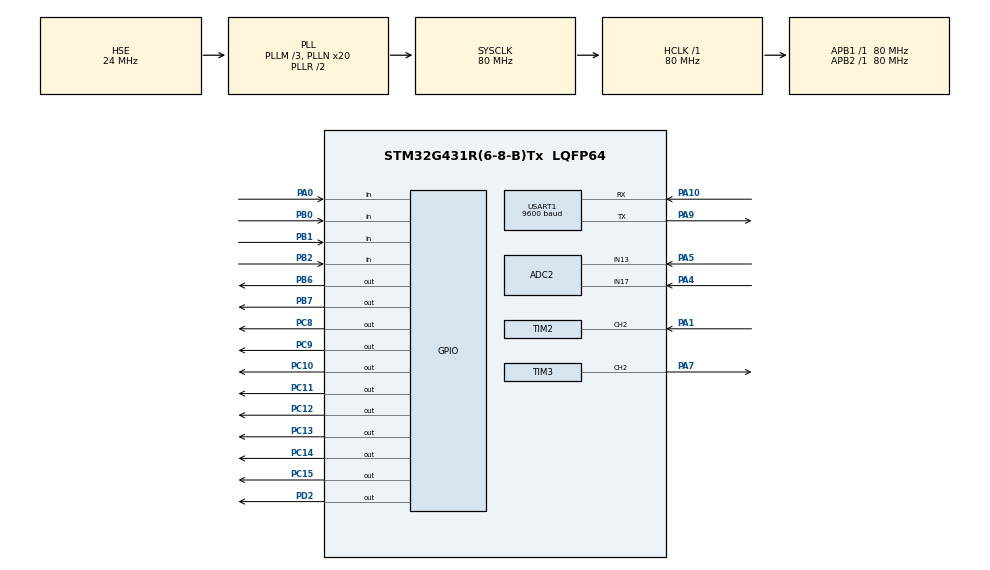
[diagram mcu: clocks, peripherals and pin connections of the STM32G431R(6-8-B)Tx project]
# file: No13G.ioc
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ADC2.Channel-3\#ChannelRegularConversion=ADC_CHANNEL_17
ADC2.Channel-4\#ChannelRegularConversion=ADC_CHANNEL_13
ADC2.ContinuousConvMode=DISABLE
ADC2.NbrOfConversion=2
ADC2.NbrOfConversionFlag=1
ADC2.OffsetNumber-3\#ChannelRegularConversion=ADC_OFFSET_NONE
ADC2.OffsetNumber-4\#ChannelRegularConversion=ADC_OFFSET_NONE
ADC2.Rank-3\#ChannelRegularConversion=1
ADC2.Rank-4\#ChannelRegularConversion=2
ADC2.SamplingTime-3\#ChannelRegularConversion=ADC_SAMPLETIME_640CYCLES_5
ADC2.SamplingTime-4\#ChannelRegularConversion=ADC_SAMPLETIME_640CYCLES_5
Mcu.Family=STM32G4
Mcu.Name=STM32G431R(6-8-B)Tx
Mcu.Package=LQFP64
NVIC.PriorityGroup=NVIC_PRIORITYGROUP_4
NVIC.TIM1_TRG_COM_TIM17_IRQn=true\:0\:0\:false\:false\:true\:true\:true\:true
NVIC.TIM2_IRQn=true\:0\:0\:false\:false\:true\:true\:true\:true
NVIC.USART1_IRQn=true\:0\:0\:false\:false\:true\:true\:true\:true
PA0.GPIO_PuPd=GPIO_PULLUP
PA0.Signal=GPIO_Input
PA1.Signal=S_TIM2_CH2
PA10.Mode=Asynchronous
PA10.Signal=USART1_RX
PA13.Mode=Serial_Wire
PA13.Signal=SYS_JTMS-SWDIO
PA14.Mode=Serial_Wire
PA14.Signal=SYS_JTCK-SWCLK
PA4.Mode=IN17-Single-Ended
PA4.Signal=ADC2_IN17
PA5.Mode=IN13-Single-Ended
PA5.Signal=ADC2_IN13
PA7.Signal=S_TIM3_CH2
PA9.Mode=Asynchronous
PA9.Signal=USART1_TX
PB0.GPIO_PuPd=GPIO_PULLUP
PB0.Signal=GPIO_Input
PB1.GPIO_PuPd=GPIO_PULLUP
PB1.Signal=GPIO_Input
PB2.GPIO_PuPd=GPIO_PULLUP
PB2.Signal=GPIO_Input
PB6.Signal=GPIO_Output
PB7.Signal=GPIO_Output
PC10.PinState=GPIO_PIN_SET
PC10.Signal=GPIO_Output
PC11.PinState=GPIO_PIN_SET
PC11.Signal=GPIO_Output
PC12.PinState=GPIO_PIN_SET
PC12.Signal=GPIO_Output
PC13.PinState=GPIO_PIN_SET
PC13.Signal=GPIO_Output
PC14-OSC32_IN.PinState=GPIO_PIN_SET
PC14-OSC32_IN.Signal=GPIO_Output
PC15-OSC32_OUT.PinState=GPIO_PIN_SET
PC15-OSC32_OUT.Signal=GPIO_Output
PC8.PinState=GPIO_PIN_SET
PC8.Signal=GPIO_Output
PC9.PinState=GPIO_PIN_SET
PC9.Signal=GPIO_Output
PD2.Signal=GPIO_Output
PF0-OSC_IN.Mode=HSE-External-Oscillator
PF0-OSC_IN.Signal=RCC_OSC_IN
PF1-OSC_OUT.Mode=HSE-External-Oscillator
PF1-OSC_OUT.Signal=RCC_OSC_OUT
ProjectManager.HeapSize=0x200
ProjectManager.StackSize=0x400
ProjectManager.TargetToolchain=MDK-ARM V5.32
RCC.ADC12Freq_Value=80000000
RCC.AHBFreq_Value=80000000
RCC.APB1Freq_Value=80000000
RCC.APB1TimFreq_Value=80000000
RCC.APB2Freq_Value=80000000
RCC.APB2TimFreq_Value=80000000
RCC.CortexFreq_Value=80000000
RCC.EXTERNAL_CLOCK_VALUE=12288000
RCC.HCLKFreq_Value=80000000
RCC.HSE_VALUE=24000000
RCC.HSI48_VALUE=48000000
RCC.HSI_VALUE=16000000
RCC.LSE_VALUE=32768
RCC.PLLM=RCC_PLLM_DIV3
RCC.PLLN=20
RCC.PLLSourceVirtual=RCC_PLLSOURCE_HSE
RCC.SYSCLKFreq_VALUE=80000000
RCC.SYSCLKSource=RCC_SYSCLKSOURCE_PLLCLK
RCC.USBFreq_Value=80000000
RCC.VCOOutputFreq_Value=160000000
SH.S_TIM2_CH2.0=TIM2_CH2,Input_Capture2_from_TI2
SH.S_TIM3_CH2.0=TIM3_CH2,PWM Generation2 CH2
TIM17.PeriodNoDither=10000
TIM17.Prescaler=80-1
TIM2.Channel-Input_Capture2_from_TI2=TIM_CHANNEL_2
TIM2.Prescaler=80-1
TIM3.Channel-PWM\ Generation2\ CH2=TIM_CHANNEL_2
TIM3.PeriodNoDither=100
TIM3.Prescaler=80-1
TIM3.PulseNoDither_2=50
USART1.BaudRate=9600
USART1.VirtualMode-Asynchronous=VM_ASYNC
VP_SYS_VS_DBSignals.Mode=DisableDeadBatterySignals
VP_TIM17_VS_ClockSourceINT.Mode=Enable_Timer
VP_TIM2_VS_ClockSourceINT.Mode=Internal
VP_TIM3_VS_ClockSourceINT.Mode=Internal
board=custom

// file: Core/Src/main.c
/* USER CODE BEGIN Header */
/**
  ******************************************************************************
  * @file           : main.c
  * @brief          : Main program body
  ******************************************************************************
  * @attention
  *
  * Copyright (c) 2024 STMicroelectronics.
  * All rights reserved.
  *
  * This software is licensed under terms that can be found in the LICENSE file
  * in the root directory of this software component.
  * If no LICENSE file comes with this software, it is provided AS-IS.
  *
  ******************************************************************************
  */
/* USER CODE END Header */
#include "main.h"
#include "adc.h"
#include "tim.h"
#include "usart.h"
#include "gpio.h"

/* USER CODE BEGIN Includes */
#include "mymain.h"

/* USER CODE END Includes */

void SystemClock_Config(void);

/* USER CODE BEGIN 0 */
uint8_t lcd_flag=0;
void lcd_sch(){
	if(lcd_flag==0){
		LCD_DisplayStringLine(Line1, (unsigned char *)"        DATA  ");

		sprintf(text,"     PA4=%.2f   ",pa4_adc);
		LCD_DisplayStringLine(Line3, (unsigned char *)text);

		sprintf(text,"     PA5=%.2f   ",pa5_adc);
		LCD_DisplayStringLine(Line4, (unsigned char *)text);

		sprintf(text,"     PA1=%d   ",pa1_ICpulse);
		LCD_DisplayStringLine(Line5, (unsigned char *)text);
	}
	else if(lcd_flag==1){
		LCD_DisplayStringLine(Line1, (unsigned char *)"        PARA   ");

		sprintf(text,"     X=%d   ",X);
		LCD_DisplayStringLine(Line3, (unsigned char *)text);

		sprintf(text,"     Y=%d   ",Y);
		LCD_DisplayStringLine(Line4, (unsigned char *)text);
	}
	else if(lcd_flag==2){
		if(rec_swit==0){
			rec_acc(0);

			LCD_DisplayStringLine(Line1, (unsigned char *)"        REC-PA4   ");

			sprintf(text,"     N=%d   ",N_pa4);
			LCD_DisplayStringLine(Line3, (unsigned char *)text);

			sprintf(text,"     A=%.2f   ",A_pa4);
			LCD_DisplayStringLine(Line4, (unsigned char *)text);

			sprintf(text,"     T=%.2f   ",T_pa4);
			LCD_DisplayStringLine(Line5, (unsigned char *)text);

			sprintf(text,"     H=%.2f   ",H_pa4);
			LCD_DisplayStringLine(Line6, (unsigned char *)text);
		}

		else{
			rec_acc(1);

			LCD_DisplayStringLine(Line1, (unsigned char *)"        REC-PA5   ");

			sprintf(text,"     N=%d   ",N_pa5);
			LCD_DisplayStringLine(Line3, (unsigned char *)text);

			sprintf(text,"     A=%.2f   ",A_pa5);
			LCD_DisplayStringLine(Line4, (unsigned char *)text);

			sprintf(text,"     T=%.2f   ",T_pa5);
			LCD_DisplayStringLine(Line5, (unsigned char *)text);

			sprintf(text,"     H=%.2f   ",H_pa5);
			LCD_DisplayStringLine(Line6, (unsigned char *)text);
		}

	}
}

void rec_acc(uint8_t x){
	if(x==0&&N_pa4==0){A_pa4=T_pa4=H_pa4=0;return;}
	if(x==1&&N_pa5==0){A_pa5=T_pa5=H_pa5=0;return;}

	float min=10.f,max=0.f,sum=0.f;

	if(x==0){
		for(int i=1;i<=N_pa4;i++){
			if(pa4_dat[i]>=max)max=pa4_dat[i];
			if(pa4_dat[i]<=min)min=pa4_dat[i];
			sum+=pa4_dat[i];

		}

		A_pa4=max;
		T_pa4=min;
		H_pa4=sum/N_pa4;
	}

	else{
		for(int i=1;i<=N_pa5;i++){
			if(pa5_dat[i]>=max)max=pa5_dat[i];
			if(pa5_dat[i]<=min)min=pa5_dat[i];
			sum+=pa5_dat[i];

		}

		A_pa5=max;
		T_pa5=min;
		H_pa5=sum/N_pa5;
	}

}

void key_handle(){
	if(key[1].flag==1){
		lcd_flag=(lcd_flag+1)%3;
		if(lcd_flag==2)rec_swit=0;
		LCD_Clear(Black);

		key[1].flag=0;
	}

	if(key[2].flag==1){
		if(lcd_flag==1){
			X++;
			if(X>=5)X=1;

			eeprom_send(0x01,X);
			HAL_Delay(10);
		}

		key[2].flag=0;
	}

	if(key[3].flag==1){
		if(lcd_flag==1){
			Y++;
			if(Y>=5)Y=1;

			eeprom_send(0x00,Y);
			HAL_Delay(10);
		}

		key[3].flag=0;
	}

	if(key[4].flag==1){
		if(lcd_flag==0){
			adc2_read();
			HAL_Delay(1);
			adc2_read();
			N_pa4++;
			N_pa5++;

			pa4_dat[N_pa4]=pa4_adc;
			pa5_dat[N_pa5]=pa5_adc;
		}

		if(lcd_flag==1){
			oc_mode=(oc_mode+1)%2;
		}

		if(lcd_flag==2){
			rec_swit=(rec_swit+1)%2;
		}

		key[4].flag=0;
	}

	if(key[4].flag==3){
		if(lcd_flag==2){
			if(rec_swit==0){
				N_pa4=0;
				A_pa4=T_pa4=H_pa4=0;
			}

			else{
				N_pa5=0;
				A_pa5=T_pa5=H_pa5=0;
			}
		}

		key[4].flag=0;
	}
}

void OC_act(){
	if(oc_mode==0){
		PA7_Pulse_Out(pa1_ICpulse*X);
//		PA7_Pulse_Out(10000*X);
	}
	else{
		PA7_Pulse_Out(pa1_ICpulse/X);
//		PA7_Pulse_Out(10000/X);
	}
}

uint8_t tick_l,tick_r;
void led_handle(){
	if(oc_mode==0)led_sta|=(0x1<<1);
	else led_sta &= ~(0x1<<1);

	if(oc_mode==1)led_sta|=(0x1<<2);
	else led_sta &= ~(0x1<<2);

	if(uwTick%100>50)tick_r=1;
	else tick_r=0;

	if(pa4_adc>pa5_adc*Y){

		if(tick_l==0&&tick_r==1)led_sta ^= (0x1<<3);
	}
	else{
		led_sta &= ~(0x1<<3);
	}

	tick_l=tick_r;

	if(lcd_show==0)led_sta|= (0x1<<4);
	else led_sta &= ~(0x1<<4);

}

void uart_handle(){
	if(rx_flag>0){
		HAL_Delay(50);

		if(strcmp(uart_buf,"X")==0){
			sprintf(text,"X:%d\r\n",X);
			HAL_UART_Transmit(&huart1,text,strlen(text),50);
		}

		if(strcmp(uart_buf,"Y")==0){
			sprintf(text,"Y:%d\r\n",Y);
			HAL_UART_Transmit(&huart1,text,strlen(text),50);
		}

		if(strcmp(uart_buf,"PA1")==0){
			sprintf(text,"PA1:%d\r\n",pa1_ICpulse);
			HAL_UART_Transmit(&huart1,text,strlen(text),50);
		}

		if(strcmp(uart_buf,"PA4")==0){
			sprintf(text,"PA4:%.2f\r\n",pa4_adc);
			HAL_UART_Transmit(&huart1,text,strlen(text),50);
		}

		if(strcmp(uart_buf,"PA5")==0){
			sprintf(text,"PA5:%.2f\r\n",pa5_adc);
			HAL_UART_Transmit(&huart1,text,strlen(text),50);
		}

		if(strcmp(uart_buf,"#")==0){
			lcd_show=(lcd_show+1)%2;
			my_LCD_Init(lcd_show);
			LCD_Clear(Black);
		}

		rx_flag=0;
		memset(uart_buf,0,sizeof(uart_buf));
	}
}
/* USER CODE END 0 */

int main(void)
{

  /* MCU Configuration--------------------------------------------------------*/

  /* Reset of all peripherals, Initializes the Flash interface and the Systick. */
  HAL_Init();

  /* Configure the system clock */
  SystemClock_Config();

  /* Initialize all configured peripherals */
  MX_GPIO_Init();
  MX_ADC2_Init();
  MX_TIM2_Init();
  MX_TIM3_Init();
  MX_TIM17_Init();
  MX_USART1_UART_Init();
  /* USER CODE BEGIN 2 */

	//LCD
	 LCD_Init();
//	 my_LCD_Init(1);

   LCD_Clear(Black);
   LCD_SetBackColor(Black);
   LCD_SetTextColor(White);

//   LCD_DisplayStringLine(Line4, (unsigned char *)"    Hello,world.   ");

	//key
	HAL_TIM_Base_Start_IT(&htim17);

	//led
	led_sta=0x00;
//	led_set();

	//IC
	HAL_TIM_Base_Start_IT(&htim2);
	HAL_TIM_IC_Start_IT(&htim2,TIM_CHANNEL_2);
	HAL_TIM_IC_Start(&htim2,TIM_CHANNEL_2);

	//OC
	HAL_TIM_Base_Start_IT(&htim3);
	HAL_TIM_PWM_Start(&htim3,TIM_CHANNEL_2);

//	PA7_Pulse_Out(2500);
	__HAL_TIM_SET_PRESCALER(&htim3,320);

	//UART
	HAL_UART_Receive_IT(&huart1,&rx_single,1);

	sprintf(text," Hello,world.\r\n");
	HAL_UART_Transmit(&huart1,text,strlen(text),50);

	//I2C
//	eeprom_send(0x00,0x99);
//	HAL_Delay(50);
//	sprintf(text,"eeprom is %x   ",eeprom_read(0x00));
//	LCD_DisplayStringLine(Line0, (unsigned char *)text);
	Y=eeprom_read(0x00);
	HAL_Delay(50);
	X=eeprom_read(0x01);
	HAL_Delay(50);

  /* USER CODE END 2 */

  /* Infinite loop */
  /* USER CODE BEGIN WHILE */
  while (1)
  {

		led_handle();
		led_set();
		key_handle();
		lcd_sch();
		OC_act();
		uart_handle();

//		adc2_read();
//		sprintf(text,"pa4=%.2f pa5=%.2f  ",pa4_adc,pa5_adc);
//		LCD_DisplayStringLine(Line7, (unsigned char *)text);
//
//
//		sprintf(text,"%d     ",pa1_ICpulse);
//		LCD_DisplayStringLine(Line7, (unsigned char *)text);
//
//
//		if(rx_flag>0){
//			HAL_Delay(50);
//			LCD_DisplayStringLine(Line6, (unsigned char *)uart_buf);
//			memset(uart_buf,0,sizeof(uart_buf));
//			rx_flag=0;
//		}
//

    /* USER CODE END WHILE */

  }
}

void SystemClock_Config(void)
{
  RCC_OscInitTypeDef RCC_OscInitStruct = {0};
  RCC_ClkInitTypeDef RCC_ClkInitStruct = {0};

  /** Configure the main internal regulator output voltage
  */
  HAL_PWREx_ControlVoltageScaling(PWR_REGULATOR_VOLTAGE_SCALE1);

  /** Initializes the RCC Oscillators according to the specified parameters
  * in the RCC_OscInitTypeDef structure.
  */
  RCC_OscInitStruct.OscillatorType = RCC_OSCILLATORTYPE_HSE;
  RCC_OscInitStruct.HSEState = RCC_HSE_ON;
  RCC_OscInitStruct.PLL.PLLState = RCC_PLL_ON;
  RCC_OscInitStruct.PLL.PLLSource = RCC_PLLSOURCE_HSE;
  RCC_OscInitStruct.PLL.PLLM = RCC_PLLM_DIV3;
  RCC_OscInitStruct.PLL.PLLN = 20;
  RCC_OscInitStruct.PLL.PLLP = RCC_PLLP_DIV2;
  RCC_OscInitStruct.PLL.PLLQ = RCC_PLLQ_DIV2;
  RCC_OscInitStruct.PLL.PLLR = RCC_PLLR_DIV2;
  if (HAL_RCC_OscConfig(&RCC_OscInitStruct) != HAL_OK)
  {
    Error_Handler();
  }

  /** Initializes the CPU, AHB and APB buses clocks
  */
  RCC_ClkInitStruct.ClockType = RCC_CLOCKTYPE_HCLK|RCC_CLOCKTYPE_SYSCLK
                              |RCC_CLOCKTYPE_PCLK1|RCC_CLOCKTYPE_PCLK2;
  RCC_ClkInitStruct.SYSCLKSource = RCC_SYSCLKSOURCE_PLLCLK;
  RCC_ClkInitStruct.AHBCLKDivider = RCC_SYSCLK_DIV1;
  RCC_ClkInitStruct.APB1CLKDivider = RCC_HCLK_DIV1;
  RCC_ClkInitStruct.APB2CLKDivider = RCC_HCLK_DIV1;

  if (HAL_RCC_ClockConfig(&RCC_ClkInitStruct, FLASH_LATENCY_2) != HAL_OK)
  {
    Error_Handler();
  }
}

void Error_Handler(void)
{
  __disable_irq();
  while (1)
  {
  }
}
